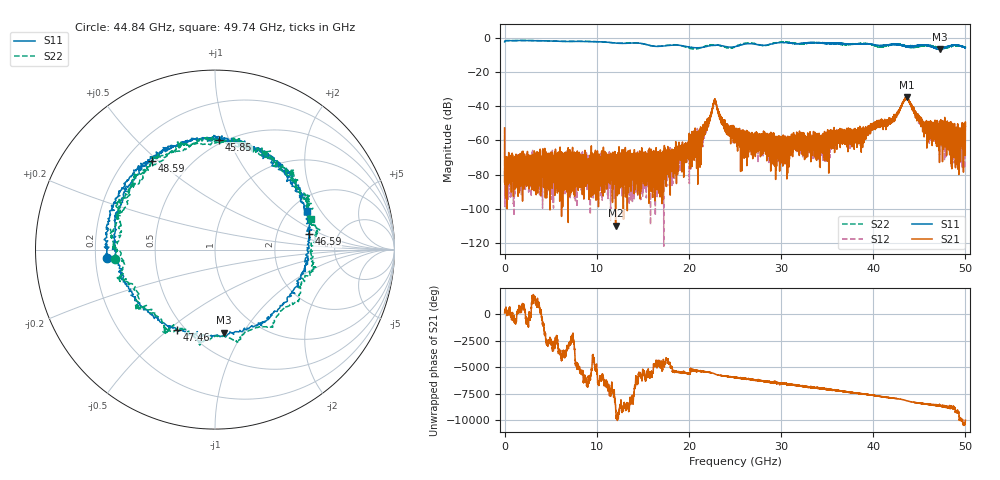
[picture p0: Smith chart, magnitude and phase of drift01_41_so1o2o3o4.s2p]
!Created with skrf (http://scikit-rf.org).
# Hz S RI R 50.0
!freq ReS11 ImS11 ReS21 ImS21 ReS12 ImS12 ReS22 ImS22
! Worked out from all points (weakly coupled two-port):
!   10001 points, 300 kHz to 50 GHz, reference 50 ohm
!   highest |S21| = -34.77 dB at 43.61 GHz (marker M1); lowest = -109.9 dB at 12.05 GHz (marker M2)
!   lowest |S11| = -6.7 dB at 47.24 GHz (marker M3), VSWR 2.74, Z = 35.2 - j41.5 ohm
!   |S11| at or under -10 dB: nowhere
!   |S22| runs from -6.6 to -1.4 dB; largest |S21 - S12| = 0.0042
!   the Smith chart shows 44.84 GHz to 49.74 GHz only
!   S11 on the Smith chart (normalised r, x): 44.84 GHz: 0.25, -0.04; 45.85 GHz: 0.47, +0.92; 46.59 GHz: 3.05, +0.73; 47.46 GHz: 0.45, -0.53; 48.59 GHz: 0.31, +0.47; 49.74 GHz: 2.45, +1.53
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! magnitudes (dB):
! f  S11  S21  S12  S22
! 300 kHz  -2.2  -52.7  -52.6  -2.1
! 270.3 MHz  -1.4  -73.7  -76.8  -1.4
! 8.335 GHz  -2.0  -71.3  -78.3  -1.8
! 12.05 GHz  -2.9  -109.9  -77.8  -2.8
! 16.67 GHz  -4.8  -66.6  -70.4  -4.8
! 21.09 GHz  -5.6  -58.0  -59.7  -6.0
! 22.79 GHz  -4.3  -36.0  -36.1  -3.9
! 23.7 GHz  -4.6  -49.4  -48.6  -4.9
! 25 GHz  -5.0  -57.1  -55.0  -5.1
! 29.44 GHz  -2.9  -57.5  -61.4  -2.7
! 33.34 GHz  -2.6  -65.7  -61.0  -2.7
! 38.67 GHz  -3.3  -57.3  -56.0  -3.2
! 41.67 GHz  -3.9  -50.3  -48.6  -4.2
! 43.61 GHz  -4.8  -34.8  -35.1  -5.0
! 44.84 GHz  -4.4  -46.6  -46.2  -5.1
! 45.85 GHz  -4.2  -50.4  -54.0  -4.6
! 46.59 GHz  -5.5  -59.5  -54.1  -4.8
! 47.24 GHz  -6.7  -50.1  -55.1  -5.5
! 47.46 GHz  -6.1  -52.6  -54.3  -6.0
! 48.59 GHz  -4.4  -50.1  -53.0  -4.5
! 49.74 GHz  -5.1  -52.6  -53.3  -5.0
! 50 GHz  -5.5  -51.6  -51.1  -5.3
